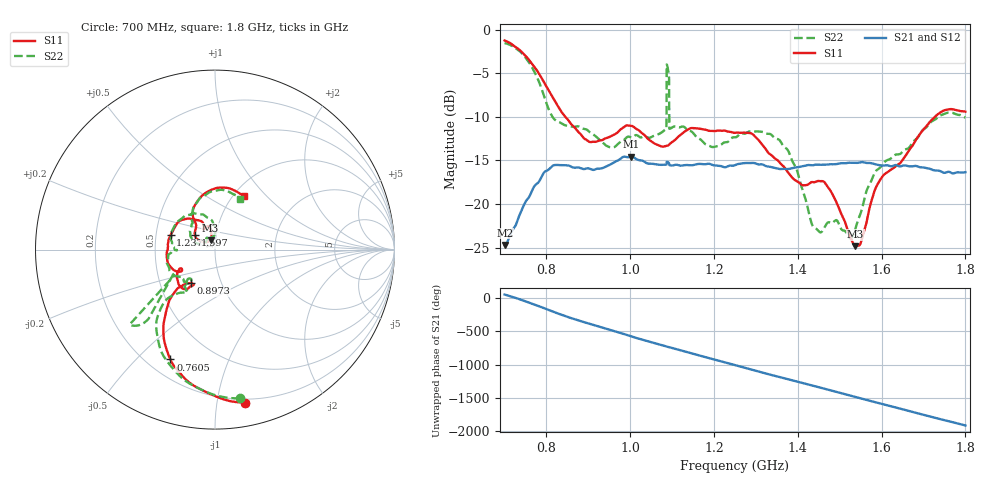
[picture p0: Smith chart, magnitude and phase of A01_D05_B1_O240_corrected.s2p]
! Created with skrf 1.9.0 (http://scikit-rf.org).
# Hz S RI R 50.0
!freq ReS11 ImS11 ReS21 ImS21 ReS12 ImS12 ReS22 ImS22
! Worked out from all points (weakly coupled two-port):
!   1601 points, 700 MHz to 1.8 GHz, reference 50 ohm
!   highest |S21| = -14.56 dB at 1.002 GHz (marker M1); lowest = -24.7 dB at 700.7 MHz (marker M2)
!   lowest |S11| = -24.8 dB at 1.537 GHz (marker M3), VSWR 1.12, Z = 47.3 + j4.89 ohm
!   |S11| at or under -10 dB: 845.3 MHz to 1.727 GHz (881.6 MHz wide, 68.5 % of centre)
!   |S22| runs from -23.9 to -1.5 dB; largest |S21 - S12| = 0.0036
!   S11 on the Smith chart (normalised r, x): 700 MHz: 0.17, -1.20; 760.5 MHz: 0.29, -0.63; 897.3 MHz: 0.71, -0.28; 1.237 GHz: 0.60, +0.10; 1.597 GHz: 0.79, +0.13; 1.8 GHz: 1.13, +0.75
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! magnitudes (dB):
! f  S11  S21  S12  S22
! 700 MHz  -1.2  -24.7  -24.5  -1.5
! 700.7 MHz  -1.2  -24.7  -24.4  -1.5
! 760.5 MHz  -3.6  -19.0  -18.9  -3.9
! 816.9 MHz  -7.9  -15.6  -15.7  -10.2
! 883.6 MHz  -12.1  -15.9  -15.8  -11.3
! 897.3 MHz  -12.7  -15.9  -16.0  -11.5
! 1.002 GHz  -11.0  -14.6  -14.7  -12.4
! 1.067 GHz  -13.2  -15.5  -15.4  -12.0
! 1.081 GHz  -13.4  -15.5  -15.5  -11.6
! 1.087 GHz  -13.3  -15.1  -15.1  -4.0
! 1.093 GHz  -13.2  -15.3  -15.3  -5.5
! 1.099 GHz  -12.9  -15.6  -15.6  -11.3
! 1.237 GHz  -11.7  -15.6  -15.7  -12.7
! 1.25 GHz  -11.8  -15.5  -15.5  -12.3
! 1.357 GHz  -15.2  -16.0  -15.9  -12.7
! 1.434 GHz  -17.5  -15.6  -15.5  -22.3
! 1.472 GHz  -18.1  -15.5  -15.5  -22.1
! 1.537 GHz  -24.8  -15.3  -15.3  -22.8
! 1.597 GHz  -17.2  -15.5  -15.5  -15.8
! 1.617 GHz  -16.2  -15.6  -15.6  -14.9
! 1.735 GHz  -9.6  -16.2  -16.2  -10.0
! 1.8 GHz  -9.4  -16.3  -16.3  -10.1
